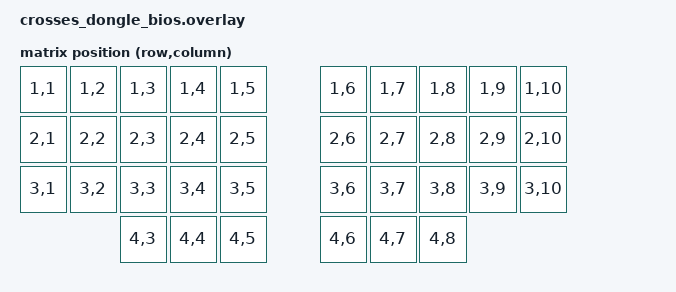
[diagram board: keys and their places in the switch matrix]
#include <dt-bindings/zmk/matrix_transform.h>
#include <physical_layouts.dtsi>
#include "../crosses/thirty_six_layout.dtsi"

/ {
    chosen {
        zmk,kscan = &mock_kscan;
        zmk,physical-layout = &gggw_crosses_36_layout;
    };

    mock_kscan: kscan_1 {
        compatible = "zmk,kscan-mock";
        columns = <0>;
        rows = <0>;
        events = <0>;
    };

    crosses_dongle_bios_transform: keymap_transform_dongle_bios {
        compatible = "zmk,matrix-transform";
        columns = <12>;
        rows = <5>;
        map = <
            RC(1,1) RC(1,2) RC(1,3) RC(1,4) RC(1,5) RC(1,6) RC(1,7) RC(1,8) RC(1,9) RC(1,10)
            RC(2,1) RC(2,2) RC(2,3) RC(2,4) RC(2,5) RC(2,6) RC(2,7) RC(2,8) RC(2,9) RC(2,10)
            RC(3,1) RC(3,2) RC(3,3) RC(3,4) RC(3,5) RC(3,6) RC(3,7) RC(3,8) RC(3,9) RC(3,10)
                    RC(4,3) RC(4,4) RC(4,5) RC(4,6) RC(4,7) RC(4,8)
        >;
    };
};

// Reuse shared 36-key physical layout; only the transform differs on the dongle
&gggw_crosses_36_layout {
    transform = <&crosses_dongle_bios_transform>;
};
